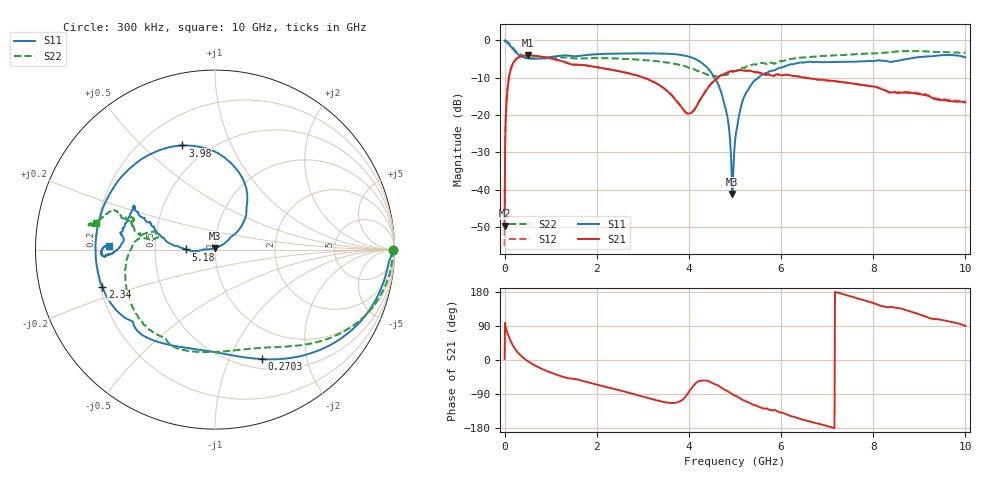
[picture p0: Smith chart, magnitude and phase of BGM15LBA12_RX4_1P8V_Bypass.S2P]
!Agilent Technologies,E5071C,MY46316587,B.13.01
!Date: Thu Dec 07 14:10:55 2017
!Data & Calibration Information:
!Freq	S11:SOLT2(ON)	S21:SOLT2(ON)	S12:SOLT2(ON)	S22:SOLT2(ON)
!PortZ  Port1:50+j0  Port2:50+j0
!Above PortZ is port z conversion or system Z0 setting when saving the data.
!When reading, reference impedance value at option line is always used.
# Hz S dB R 50
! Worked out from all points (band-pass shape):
!   1001 points, 300 kHz to 10 GHz, reference 50 ohm
!   highest |S21| = -4.07 dB at 510.3 MHz (marker M1); lowest = -49.7 dB at 300 kHz (marker M2)
!   |S21| within 3 dB of the highest: 152.9 MHz to 1.929 GHz (1.776 GHz wide, 171 % of centre)
!   lowest |S11| = -41.2 dB at 4.94 GHz (marker M3), VSWR 1.02, Z = 50.1 + j0.871 ohm
!   |S11| at or under -10 dB: 4.552 GHz to 5.505 GHz (953.3 MHz wide, 19 % of centre)
!   |S22| runs from -9.8 to -0.1 dB; largest |S21 - S12| = 0.0063
!   S11 on the Smith chart (normalised r, x): 300 kHz: open; 270.3 MHz: 0.61, -1.33; 2.34 GHz: 0.21, -0.16; 3.98 GHz: 0.36, +0.67; 5.18 GHz: 0.72, +0.00; 10 GHz: 0.26, +0.02
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300000  -0.06 -0.3  -49.67 3.2  -55.15 139.4  -0.06 -0.0
6.02982e7  -0.66 -20.7  -13.44 71.8  -13.35 71.8  -0.40 -16.1
8.02976e7  -0.90 -26.9  -11.20 65.0  -11.15 64.9  -0.63 -20.9
1.502955e8  -1.94 -45.2  -7.16 45.2  -7.12 44.9  -1.61 -34.9
2.702919e8  -3.55 -66.7  -4.86 22.3  -4.85 22.1  -3.17 -50.7
5.102847e8  -4.89 -91.2  -4.07 -3.8  -4.06 -3.9  -4.62 -70.0
1.01027e9  -4.47 -119.3  -4.90 -33.5  -4.88 -33.6  -4.80 -98.0
1.67025e9  -4.12 -141.4  -6.63 -54.3  -6.58 -54.3  -4.89 -121.5
2.34023e9  -3.59 -161.6  -7.97 -75.3  -7.95 -75.1  -4.86 -137.4
3.3402e9  -3.56 153.6  -11.89 -107.5  -11.88 -107.3  -5.69 -163.9
3.980181e9  -4.32 107.4  -19.68 -87.2  -19.59 -87.2  -7.29 172.3
4.370169e9  -7.00 72.2  -13.56 -54.5  -13.47 -54.3  -9.05 163.4
4.65016e9  -12.25 46.3  -9.76 -68.7  -9.73 -68.7  -9.71 168.3
4.830155e9  -20.16 36.5  -8.72 -81.3  -8.70 -81.2  -9.22 170.5
4.940152e9  -41.15 83.0  -8.24 -90.1  -8.24 -90.2  -8.51 170.9
5.00015e9  -27.16 177.8  -8.23 -94.0  -8.21 -93.9  -8.34 170.9
5.060148e9  -22.22 -177.2  -8.06 -97.3  -8.06 -97.3  -7.98 171.0
5.180145e9  -15.71 179.8  -8.12 -106.1  -8.10 -106.0  -7.35 167.9
5.610132e9  -9.06 161.5  -9.06 -127.7  -9.03 -127.7  -6.11 159.5
6.6701e9  -5.83 151.4  -10.34 -163.7  -10.30 -163.7  -4.43 158.7
8.34005e9  -5.74 172.2  -13.97 139.4  -13.92 139.3  -3.27 168.7
1e10  -4.60 177.8  -16.66 89.9  -16.39 90.8  -3.39 167.3
